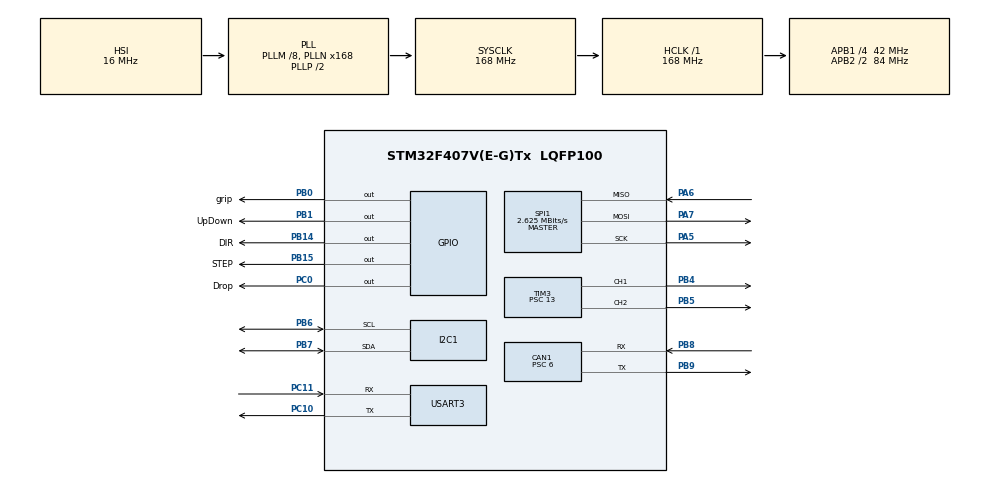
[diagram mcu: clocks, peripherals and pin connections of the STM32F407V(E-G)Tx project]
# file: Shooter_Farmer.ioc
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CAN1.BS1=CAN_BS1_4TQ
CAN1.BS2=CAN_BS2_2TQ
CAN1.CalculateBaudRate=1000000
CAN1.CalculateTimeBit=1000
CAN1.CalculateTimeQuantum=142.85714285714286
CAN1.Prescaler=6
FREERTOS.INCLUDE_vTaskDelayUntil=1
FREERTOS.Tasks01=Stepper_Task,0,500,Stepper_Init,Default,NULL,Dynamic,NULL,NULL;Take_Rice_Task,0,2200,Take_Rice_Init,Default,NULL,Dynamic,NULL,NULL
I2C1.I2C_Mode=I2C_Fast
Mcu.Family=STM32F4
Mcu.Name=STM32F407V(E-G)Tx
Mcu.Package=LQFP100
NVIC.CAN1_RX0_IRQn=true\:5\:0\:false\:false\:true\:true\:true\:true\:true
NVIC.PriorityGroup=NVIC_PRIORITYGROUP_4
NVIC.TIM2_IRQn=true\:5\:0\:false\:false\:true\:true\:true\:true\:true
NVIC.TIM5_IRQn=true\:5\:0\:false\:false\:true\:true\:true\:true\:true
NVIC.TIM6_DAC_IRQn=true\:15\:0\:false\:false\:true\:false\:false\:true\:true
NVIC.TIM8_BRK_TIM12_IRQn=true\:5\:0\:false\:false\:true\:true\:true\:true\:true
NVIC.TimeBase=TIM6_DAC_IRQn
NVIC.TimeBaseIP=TIM6
PA13.Mode=Serial_Wire
PA13.Signal=SYS_JTMS-SWDIO
PA14.Mode=Serial_Wire
PA14.Signal=SYS_JTCK-SWCLK
PA5.Mode=Full_Duplex_Master
PA5.Signal=SPI1_SCK
PA6.Mode=Full_Duplex_Master
PA6.Signal=SPI1_MISO
PA7.Mode=Full_Duplex_Master
PA7.Signal=SPI1_MOSI
PB0.GPIO_Label=grip
PB0.Signal=GPIO_Output
PB1.GPIO_Label=UpDown
PB1.Signal=GPIO_Output
PB14.GPIO_Label=DIR
PB14.Signal=GPIO_Output
PB15.GPIO_Label=STEP
PB15.Signal=GPIO_Output
PB4.Signal=S_TIM3_CH1
PB5.Signal=S_TIM3_CH2
PB6.Mode=I2C
PB6.Signal=I2C1_SCL
PB7.Mode=I2C
PB7.Signal=I2C1_SDA
PB8.Mode=CAN_Activate
PB8.Signal=CAN1_RX
PB9.Mode=CAN_Activate
PB9.Signal=CAN1_TX
PC0.GPIO_Label=Drop
PC0.Signal=GPIO_Output
PC10.Mode=Asynchronous
PC10.Signal=USART3_TX
PC11.Mode=Asynchronous
PC11.Signal=USART3_RX
PH0-OSC_IN.Mode=HSE-External-Oscillator
PH0-OSC_IN.Signal=RCC_OSC_IN
PH1-OSC_OUT.Mode=HSE-External-Oscillator
PH1-OSC_OUT.Signal=RCC_OSC_OUT
ProjectManager.HeapSize=0x200
ProjectManager.StackSize=0x400
ProjectManager.TargetToolchain=STM32CubeIDE
RCC.48MHZClocksFreq_Value=84000000
RCC.AHBFreq_Value=168000000
RCC.APB1CLKDivider=RCC_HCLK_DIV4
RCC.APB1Freq_Value=42000000
RCC.APB1TimFreq_Value=84000000
RCC.APB2CLKDivider=RCC_HCLK_DIV2
RCC.APB2Freq_Value=84000000
RCC.APB2TimFreq_Value=168000000
RCC.CortexFreq_Value=168000000
RCC.HCLKFreq_Value=168000000
RCC.HSE_VALUE=25000000
RCC.HSI_VALUE=16000000
RCC.LSE_VALUE=32768
RCC.PLLM=8
RCC.PLLN=168
RCC.SYSCLKFreq_VALUE=168000000
RCC.SYSCLKSource=RCC_SYSCLKSOURCE_PLLCLK
RCC.VCOOutputFreq_Value=336000000
SH.S_TIM3_CH1.0=TIM3_CH1,PWM Generation1 CH1
SH.S_TIM3_CH2.0=TIM3_CH2,PWM Generation2 CH2
SPI1.BaudRatePrescaler=SPI_BAUDRATEPRESCALER_32
SPI1.CalculateBaudRate=2.625 MBits/s
SPI1.Direction=SPI_DIRECTION_2LINES
SPI1.Mode=SPI_MODE_MASTER
SPI1.VirtualType=VM_MASTER
TIM12.AutoReloadPreload=TIM_AUTORELOAD_PRELOAD_ENABLE
TIM12.Prescaler=167
TIM2.Period=65535
TIM2.Prescaler=83
TIM3.AutoReloadPreload=TIM_AUTORELOAD_PRELOAD_ENABLE
TIM3.Channel-PWM\ Generation1\ CH1=TIM_CHANNEL_1
TIM3.Channel-PWM\ Generation2\ CH2=TIM_CHANNEL_2
TIM3.Period=999
TIM3.Prescaler=13
TIM5.AutoReloadPreload=TIM_AUTORELOAD_PRELOAD_ENABLE
TIM5.Period=9999
TIM5.Prescaler=167
USART3.VirtualMode=VM_ASYNC
VP_FREERTOS_VS_CMSIS_V1.Mode=CMSIS_V1
VP_SYS_VS_tim6.Mode=TIM6
VP_TIM12_VS_ClockSourceINT.Mode=Internal
VP_TIM2_VS_ClockSourceINT.Mode=Internal
VP_TIM5_VS_ClockSourceINT.Mode=Internal
board=custom

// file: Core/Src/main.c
/* USER CODE BEGIN Header */
/**
  ******************************************************************************
  * @file           : main.c
  * @brief          : Main program body
  ******************************************************************************
  * @attention
  *
  * Copyright (c) 2024 STMicroelectronics.
  * All rights reserved.
  *
  * This software is licensed under terms that can be found in the LICENSE file
  * in the root directory of this software component.
  * If no LICENSE file comes with this software, it is provided AS-IS.
  *
  ******************************************************************************
  */
/* USER CODE END Header */
#include "main.h"
#include "cmsis_os.h"
#include "can.h"
#include "i2c.h"
#include "spi.h"
#include "tim.h"
#include "usart.h"
#include "gpio.h"

/* USER CODE BEGIN Includes */
//#include "Accel_stepper.h"
#include "math.h"

/* USER CODE END Includes */

/* USER CODE BEGIN PTD */
CAN_RxHeaderTypeDef RxHeader;
CAN_TxHeaderTypeDef TxHeader;
/* USER CODE END PTD */

/* USER CODE BEGIN PD */
//PID Postion Motor
#define Kp_X 1.33
#define Ki_X 0.0001
#define Kd_X 0.004
#define X 0
#define dt 0.01

//PID Speed Motor RA GIM
#define R 0.006
#define CPR_1 4929
#define kp_1 0.043
#define ki_1 1.436
#define kd_1 0
#define Motor1 0
#define PI 3.14159

//Methode2: Rotation Head
#define SPR  800    //step(per revelution)
#define TIM_FREQ 1000000 // [us]
#define Alpha (2*PI/SPR)
#define gear_ratio 19

// Shooter DC motor
#define H 0.45
#define r 0.005
#define CPR_2 67  // Motor bro Ra
#define Sample_time 10 // ms
#define kp_2 0.03072 // Bro RA
#define ki_2 0.7483
#define kd_2 0
#define Motor2 1
#define m 0.2 //[kg]
#define g 9.81 // [m/s^2]
#define b 1.225 // Air resistance constant

/* USER CODE END PD */

/* USER CODE BEGIN PV */
// Head Rotate: Steper Motor
uint16_t stepDelay = 0; // 1000us more delay means less speed
signed int set_theta1 = 200*19;
int counter=0;
extern int degree;
int deg;
extern double omega ;  // rad/s
extern double head ;
int Step = 0;
int step;

// CAN
uint8_t RxData[8];
uint8_t TxData[8];
uint32_t TxMailbox;
int datacheck = 0;
uint8_t cntt;
float RxData1 = 0;
float RxData2 = 0;
float RxData3 = 0;
float RxData4 = 0;

//Calculate position

// DC MOTOR control
float pwm1;
float V_shooter;
uint16_t V1_out;
uint16_t V2_out;

// Receive from ESPCAN
float Vx;
float Vy;
float Omega;
uint8_t Mode;
uint8_t Position;
uint8_t Catch;
uint8_t Shotter;
uint8_t Push_manual;
uint8_t SpeedShooter;
uint8_t Push ;
float Stepper;
uint8_t Drop;

//
float V_standard;
float X_mea;
float X_in;
float V1;
float Output_Vx;
extern float X_end;
extern uint8_t PushRice;
extern uint8_t DropRice;
uint8_t push1;
extern uint8_t push2;
// Drop rice
extern float x;
extern float y;
extern float yaw;
uint8_t take_state;
extern float X_end ;
extern float X_goal ;
extern float X_goal1;
int j;
uint8_t StateP;
uint16_t cur_time =0;
uint16_t prev_time=0;
//uint8_t state2 =0;

//uint8_t RxDataESP[13];
extern uint8_t SpeedShooter ;
extern uint8_t state;
//extern float distance;
/* USER CODE END PV */

void SystemClock_Config(void);
void MX_FREERTOS_Init(void);
/* USER CODE BEGIN PFP */
float map(float Input, float Min_Input, float Max_Input, float Min_Output,
		float Max_Output) {

	return (float) ((Input - Min_Input) * (Max_Output - Min_Output)
			/ (Max_Input - Min_Input) + Min_Output);
}
void HAL_CAN_RxFifo0MsgPendingCallback(CAN_HandleTypeDef *hcan) {
	HAL_CAN_GetRxMessage(hcan, CAN_RX_FIFO0, &RxHeader, RxData);
		cntt++;
		while (cntt - 100 > 0) {
			//HAL_GPIO_TogglePin(GPIOC, GPIO_PIN_13);
			cntt = 0;
		}

	if (RxHeader.StdId == 0x102)
	{
		Push = RxData[2];
		Catch = RxData[3];
		Drop = RxData[4];
//		Push_manual = map(RxData[5], ;
		Stepper = map(RxData[7],0, 255, -1.0, 1.0);
		Shotter = RxData[6];
		datacheck = 1;
	}
	else if (RxHeader.StdId == 0x103)
	{
		StateP = RxData[0];
		Position = RxData[1];
	}

}

//void microDelay (uint16_t delay)
//{
//
//  __HAL_TIM_SET_COUNTER(&htim8, 0);
//  while (__HAL_TIM_GET_COUNTER(&htim8) < delay);
//  //HAL_TIM_Base_Stop_IT(&htim12);
//}

/* USER CODE END PFP */

int main(void)
{

  /* MCU Configuration--------------------------------------------------------*/

  /* Reset of all peripherals, Initializes the Flash interface and the Systick. */
  HAL_Init();

  /* Configure the system clock */
  SystemClock_Config();

  /* Initialize all configured peripherals */
  MX_GPIO_Init();
  MX_CAN1_Init();
  MX_I2C1_Init();
  MX_TIM3_Init();
  MX_SPI1_Init();
  MX_TIM12_Init();
  MX_TIM2_Init();
  MX_USART3_UART_Init();
  MX_TIM5_Init();
  /* USER CODE BEGIN 2 */
  /*** Configure TIMER ***/
  HAL_TIM_Base_Start_IT(&htim5);
  HAL_TIM_Base_Start_IT(&htim2);
  HAL_TIM_Base_Start_IT(&htim12);

  HAL_TIM_PWM_Start(&htim3, TIM_CHANNEL_1);
  HAL_TIM_PWM_Start(&htim3, TIM_CHANNEL_2);

  /*** Configure CAN ***/
  HAL_CAN_Start(&hcan1);
  HAL_CAN_ActivateNotification(&hcan1, CAN_IT_RX_FIFO0_MSG_PENDING);
  TxHeader.DLC = 8;
  TxHeader.IDE = CAN_ID_STD;
  TxHeader.RTR = CAN_RTR_DATA;
  TxHeader.StdId = 0x409;

  /** Configure ADC ***/
  /* USER CODE END 2 */

  /* Call init function for freertos objects (in freertos.c) */
  MX_FREERTOS_Init();

  /* Start scheduler */
  osKernelStart();
  /* We should never get here as control is now taken by the scheduler */
  /* Infinite loop */
  while (1)
  {

  }
}

void SystemClock_Config(void)
{
  RCC_OscInitTypeDef RCC_OscInitStruct = {0};
  RCC_ClkInitTypeDef RCC_ClkInitStruct = {0};

  /** Configure the main internal regulator output voltage
  */
  __HAL_RCC_PWR_CLK_ENABLE();
  __HAL_PWR_VOLTAGESCALING_CONFIG(PWR_REGULATOR_VOLTAGE_SCALE1);

  /** Initializes the RCC Oscillators according to the specified parameters
  * in the RCC_OscInitTypeDef structure.
  */
  RCC_OscInitStruct.OscillatorType = RCC_OSCILLATORTYPE_HSI;
  RCC_OscInitStruct.HSIState = RCC_HSI_ON;
  RCC_OscInitStruct.HSICalibrationValue = RCC_HSICALIBRATION_DEFAULT;
  RCC_OscInitStruct.PLL.PLLState = RCC_PLL_ON;
  RCC_OscInitStruct.PLL.PLLSource = RCC_PLLSOURCE_HSI;
  RCC_OscInitStruct.PLL.PLLM = 8;
  RCC_OscInitStruct.PLL.PLLN = 168;
  RCC_OscInitStruct.PLL.PLLP = RCC_PLLP_DIV2;
  RCC_OscInitStruct.PLL.PLLQ = 4;
  if (HAL_RCC_OscConfig(&RCC_OscInitStruct) != HAL_OK)
  {
    Error_Handler();
  }

  /** Initializes the CPU, AHB and APB buses clocks
  */
  RCC_ClkInitStruct.ClockType = RCC_CLOCKTYPE_HCLK|RCC_CLOCKTYPE_SYSCLK
                              |RCC_CLOCKTYPE_PCLK1|RCC_CLOCKTYPE_PCLK2;
  RCC_ClkInitStruct.SYSCLKSource = RCC_SYSCLKSOURCE_PLLCLK;
  RCC_ClkInitStruct.AHBCLKDivider = RCC_SYSCLK_DIV1;
  RCC_ClkInitStruct.APB1CLKDivider = RCC_HCLK_DIV4;
  RCC_ClkInitStruct.APB2CLKDivider = RCC_HCLK_DIV2;

  if (HAL_RCC_ClockConfig(&RCC_ClkInitStruct, FLASH_LATENCY_5) != HAL_OK)
  {
    Error_Handler();
  }
}

void HAL_TIM_PeriodElapsedCallback(TIM_HandleTypeDef *htim)
{
  /* USER CODE BEGIN Callback 0 */
	if (htim->Instance == TIM12){
//
		if (Shotter >= 1)
		{
			pwm1 = 700;
		}
		else if (Shotter < 1)
		{
			pwm1 = 0;
		}
		// Control Motor
		if (pwm1 > 10) {
			TIM3->CCR1 = 0;
			TIM3->CCR2 = pwm1;
		} else if (pwm1 < -10) {
			TIM3->CCR1 = -1 * pwm1;
			TIM3->CCR2 = 0;
		} else {
			TIM3->CCR1 = 0;
			TIM3->CCR2 = 0;
		}
		V1_out = map(X_end*10, -100.0, 100.0, 0, 65535);
		V2_out = map(SpeedShooter*100, 0.0, 1000.0, 0, 65535);
		TxData[0] = ((V1_out & 0xFF00) >> 8);
		TxData[1] = (V1_out & 0x00FF);
		TxData[2] = ((V2_out & 0xFF00) >> 8);
		TxData[3] = (V2_out & 0x00FF);
		TxData[4] = Push;
		TxData[5] = Drop;
//		TxData[6] = TakeRice;
//		TxData[7] = push2;
		HAL_CAN_AddTxMessage(&hcan1, &TxHeader, TxData, &TxMailbox);

	}
  /* USER CODE END Callback 0 */
  if (htim->Instance == TIM6) {
    HAL_IncTick();
  }
  /* USER CODE BEGIN Callback 1 */
  if (htim->Instance == TIM2) {  //stepper1

		if (omega != 0) {
			stepDelay = (Alpha * TIM_FREQ) / (omega);
			TIM2->ARR = stepDelay;
			HAL_GPIO_TogglePin(GPIOB, GPIO_PIN_15);

		} else {
			TIM2->ARR = 10000;
		}
	}
//  if (htim->Instance == TIM5)
//  {
//		if (Position == 1  ) {
//			X_end = 0.45; // store 2 rice
////			X_end = -0.66;
//		} else if (Position == 2  ) {
//			X_end = 0.28; // store 4 rice
////			X_end = -0.44;
//		} else if (Position == 3 ) {
//			X_end = 0.09; // store 6 rice
////			X_end = -0.38;
//		}
//		else if (Position >=4)
//		{
//			X_end = 0.1;
//		}
////		if (Push == 1) {
////			X_end = X_goal;
////		}
//		j++;
//  }
  /* USER CODE END Callback 1 */
}

void Error_Handler(void)
{
  __disable_irq();
  while (1)
  {
  }
}

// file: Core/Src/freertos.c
/* USER CODE BEGIN Header */
/**
  ******************************************************************************
  * File Name          : freertos.c
  * Description        : Code for freertos applications
  ******************************************************************************
  * @attention
  *
  * Copyright (c) 2024 STMicroelectronics.
  * All rights reserved.
  *
  * This software is licensed under terms that can be found in the LICENSE file
  * in the root directory of this software component.
  * If no LICENSE file comes with this software, it is provided AS-IS.
  *
  ******************************************************************************
  */
/* USER CODE END Header */

#include "FreeRTOS.h"
#include "task.h"
#include "main.h"
#include "cmsis_os.h"

/* USER CODE BEGIN Includes */
#include "spi.h"
#include "usart.h"
#include "math.h"
#include "gpio.h"
#include "tim.h"
/* USER CODE END Includes */

/* USER CODE BEGIN PTD */
#define gear_stepper 19
#define dt 0.01
/* USER CODE END PTD */

/* USER CODE BEGIN Variables */
//------------------------------uart-functions--------------------------------------
volatile extern int flag;
volatile int flag = 0 ;
uint64_t RxpipeAddrs = 0x11223344BB;
const void* myAckPayload ;
int input_num = 0 ;
char input_data[32] ;
char c1;
char* c = &c1;
char c2;
char* c3 = &c2;
uint64_t TxpipeAddrs = 0x11223344AA;
char myTxData[32];
char AckPayload[32];
char myRxData[50];
uint8_t RxDataESP[13];
int degree;
float shooter;
double head;
double omega;

//** Laser **/
uint16_t AD_RES  = 0;
int centimeter;
float distance;

// Take Rice and Push Rice
extern uint8_t Position ;
extern uint8_t Push;
uint8_t STEP = 0;
extern uint8_t Drop;
extern uint8_t Catch ;
extern float Stepper;
extern uint8_t SpeedShooter;
uint8_t state = 0 ;
uint8_t Stock = 0;

uint8_t push = 0;
uint8_t state2;
uint8_t Shoot;
uint8_t DropState = 0;
uint8_t dropstate = 0;
uint8_t push2 = 0;

float X_end = 0.0;
float X_goal = 0.0;
float X_goal1 = 0.0;
//Drop Rice
float goal1[] = {2.15, -3.0, 1.57};
float goal2[] = {2.15, -2.4, 1.57};
float goal3[] = {2.15, -1.8, 1.57};
float goal4[] = {2.15, -1.2, 1.57};
float goal5[] = {2.15, -0.6, 1.57};
float goal6[] = {2.15, -0.0, 1.57};
extern float vx;
extern float vy;
extern float Omega;
float x;
float y;
float yaw;
float status;
extern uint8_t Drop;
extern uint8_t StateP;

/* USER CODE END Variables */
osThreadId Stepper_TaskHandle;
osThreadId Take_Rice_TaskHandle;

/* USER CODE BEGIN FunctionPrototypes */
int Map(int Input, int Min_Input , int Max_Input ,int Min_Output, int Max_Output){

	return (int) ((Input - Min_Input) * (Max_Output - Min_Output) / (Max_Input - Min_Input) + Min_Output);
}

/* USER CODE END FunctionPrototypes */

void Stepper_Init(void const * argument);
void Take_Rice_Init(void const * argument);

void MX_FREERTOS_Init(void); /* (MISRA C 2004 rule 8.1) */

/* GetIdleTaskMemory prototype (linked to static allocation support) */
void vApplicationGetIdleTaskMemory( StaticTask_t **ppxIdleTaskTCBBuffer, StackType_t **ppxIdleTaskStackBuffer, uint32_t *pulIdleTaskStackSize );

/* USER CODE BEGIN GET_IDLE_TASK_MEMORY */
static StaticTask_t xIdleTaskTCBBuffer;
static StackType_t xIdleStack[configMINIMAL_STACK_SIZE];

void vApplicationGetIdleTaskMemory( StaticTask_t **ppxIdleTaskTCBBuffer, StackType_t **ppxIdleTaskStackBuffer, uint32_t *pulIdleTaskStackSize )
{
  *ppxIdleTaskTCBBuffer = &xIdleTaskTCBBuffer;
  *ppxIdleTaskStackBuffer = &xIdleStack[0];
  *pulIdleTaskStackSize = configMINIMAL_STACK_SIZE;
  /* place for user code */
}
/* USER CODE END GET_IDLE_TASK_MEMORY */

void MX_FREERTOS_Init(void) {

  /* Create the thread(s) */
  /* definition and creation of Stepper_Task */
  osThreadDef(Stepper_Task, Stepper_Init, osPriorityNormal, 0, 500);
  Stepper_TaskHandle = osThreadCreate(osThread(Stepper_Task), NULL);

  /* definition and creation of Take_Rice_Task */
  osThreadDef(Take_Rice_Task, Take_Rice_Init, osPriorityNormal, 0, 2200);
  Take_Rice_TaskHandle = osThreadCreate(osThread(Take_Rice_Task), NULL);

}

void Stepper_Init(void const * argument)
{
  /* USER CODE BEGIN Stepper_Init */
  /* Infinite loop */
  for(;;)
  {
	  if (Stepper >= 0.5) {
			head = 5.0;
		} else if (Stepper <= -0.5) {
			head = -5.0;
		} else {
			head = 0;
		}
		if (head >= 0) {
			HAL_GPIO_WritePin(GPIOB, DIR_Pin, GPIO_PIN_SET);
			omega = head * gear_stepper;

		} else if (head < 0) {
			HAL_GPIO_WritePin(GPIOB, DIR_Pin, GPIO_PIN_RESET);
			omega = -1 * head * gear_stepper;
		}

    osDelay(10);
  }
  /* USER CODE END Stepper_Init */
}

void Take_Rice_Init(void const * argument)
{
  /* USER CODE BEGIN Take_Rice_Init */
  /* Infinite loop */
  for(;;)
  {

	if (((Position == 1 ) ||  (Position == 2) || (Position == 3 && state == 4 )) && state == 0)
	{
		HAL_GPIO_WritePin(GPIOB, GPIO_PIN_0, 1); //release
		HAL_GPIO_WritePin(GPIOB, GPIO_PIN_1, 1); //Down
		state = 1;
	}
	else if (state == 1 && Catch ==1)
	{
		HAL_GPIO_WritePin(GPIOB, GPIO_PIN_0, 0); //catch
		HAL_GPIO_WritePin(GPIOB, GPIO_PIN_1, 1); // Down
		osDelay(1000);
		state = 2;
	}
	else if (state == 2)
	{
		HAL_GPIO_WritePin(GPIOB, GPIO_PIN_0, 0); //cath
		HAL_GPIO_WritePin(GPIOB, GPIO_PIN_1, 0); // up
		osDelay(1500);
		state = 3;

	}
	else if (state == 3 )
		{
			HAL_GPIO_WritePin(GPIOB, GPIO_PIN_0, 1); //release grip
			HAL_GPIO_WritePin(GPIOB, GPIO_PIN_1, 0); //Up
			osDelay(1500);
			state = 0;
		}

	else if  ( Position >=1 && state2 ==0)
		  {
			  HAL_GPIO_WritePin(GPIOC, GPIO_PIN_0, 1); // open
			  osDelay(2000);
			  state2 = 1;
		  }
		  else if (Drop==1 && state2 == 1){
				HAL_GPIO_WritePin(GPIOC, GPIO_PIN_0, 0); //Push
				osDelay(3000);
				state2 = 0;
			}

    osDelay(10);
  }
  /* USER CODE END Take_Rice_Init */
}
